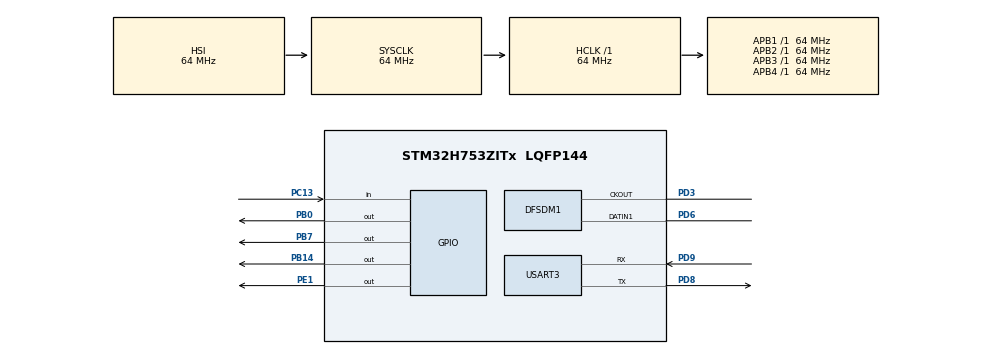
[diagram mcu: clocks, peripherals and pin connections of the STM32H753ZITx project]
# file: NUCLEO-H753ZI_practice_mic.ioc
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CORTEX_M7.CPU_DCache=Disabled
CORTEX_M7.CPU_ICache=Disabled
CORTEX_M7.MPU_Control=__NULL
CORTEX_M7.default_mode_Activation=1
DFSDM1.Divider=60
DFSDM1.DmaMode_reg_FIL0=ENABLE
DFSDM1.FastMode_reg_FIL0=ENABLE
DFSDM1.Filter_regChannel_FIL0=DFSDM_CHANNEL_1
DFSDM1.Filter_regContinuousMode_FIL0=DFSDM_CONTINUOUS_CONV_ON
DFSDM1.Fosr_FIL0=64
DFSDM1.RightBitShift_CH1=0x04
DFSDM1.Selection=DFSDM_CHANNEL_OUTPUT_CLOCK_AUDIO
DFSDM1.SincOrder_FIL0=DFSDM_FILTER_SINC4_ORDER
Dma.DFSDM1_FLT0.0.Direction=DMA_PERIPH_TO_MEMORY
Dma.DFSDM1_FLT0.0.EventEnable=DISABLE
Dma.DFSDM1_FLT0.0.FIFOMode=DMA_FIFOMODE_DISABLE
Dma.DFSDM1_FLT0.0.Instance=DMA1_Stream0
Dma.DFSDM1_FLT0.0.MemDataAlignment=DMA_MDATAALIGN_WORD
Dma.DFSDM1_FLT0.0.MemInc=DMA_MINC_ENABLE
Dma.DFSDM1_FLT0.0.Mode=DMA_CIRCULAR
Dma.DFSDM1_FLT0.0.PeriphDataAlignment=DMA_PDATAALIGN_WORD
Dma.DFSDM1_FLT0.0.PeriphInc=DMA_PINC_DISABLE
Dma.DFSDM1_FLT0.0.Polarity=HAL_DMAMUX_REQ_GEN_RISING
Dma.DFSDM1_FLT0.0.Priority=DMA_PRIORITY_HIGH
Dma.DFSDM1_FLT0.0.RequestNumber=1
Dma.DFSDM1_FLT0.0.SignalID=NONE
Dma.DFSDM1_FLT0.0.SyncEnable=DISABLE
Dma.DFSDM1_FLT0.0.SyncPolarity=HAL_DMAMUX_SYNC_NO_EVENT
Dma.DFSDM1_FLT0.0.SyncRequestNumber=1
Dma.DFSDM1_FLT0.0.SyncSignalID=NONE
Dma.Request0=DFSDM1_FLT0
Mcu.Family=STM32H7
Mcu.Name=STM32H753ZITx
Mcu.Package=LQFP144
NUCLEO-H753ZI.BUTTON=1
NUCLEO-H753ZI.Bsp_Common_DEMO=true
NUCLEO-H753ZI.LD1=true
NUCLEO-H753ZI.LD2=true
NUCLEO-H753ZI.LD3=true
NUCLEO-H753ZI.VCP=false
NVIC.DMA1_Stream0_IRQn=true\:0\:0\:false\:false\:true\:false\:true\:true
NVIC.EXTI15_10_IRQn=true\:0\:0\:false\:false\:true\:false\:true\:true
NVIC.PriorityGroup=NVIC_PRIORITYGROUP_4
PB0.Signal=GPIO_Output
PB14.Signal=GPIO_Output
PB7.Signal=GPIO_Output
PC13.Signal=GPIO_Input
PC14-OSC32_IN\ (OSC32_IN).Signal=RCC_OSC32_IN
PC15-OSC32_OUT\ (OSC32_OUT).Signal=RCC_OSC32_OUT
PD3.Signal=S_CKOUTDFSDM1
PD6.Signal=S_DATAIN1DFSDM1
PD8.Mode=Asynchronous
PD8.Signal=USART3_TX
PD9.Mode=Asynchronous
PD9.Signal=USART3_RX
PE1.Signal=GPIO_Output
PH0-OSC_IN\ (PH0).Signal=RCC_OSC_IN
PH1-OSC_OUT\ (PH1).Signal=RCC_OSC_OUT
ProjectManager.HeapSize=0x200
ProjectManager.StackSize=0x400
ProjectManager.TargetToolchain=STM32CubeIDE
RCC.ADCFreq_Value=3000000
RCC.APB1Freq_Value=64000000
RCC.APB2Freq_Value=64000000
RCC.APB3Freq_Value=64000000
RCC.APB4Freq_Value=64000000
RCC.CortexFreq_Value=64000000
RCC.DIVM1=5
RCC.DIVM2=4
RCC.DIVN1=24
RCC.DIVN2=15
RCC.DIVP2=80
RCC.DIVQ1=5
RCC.HCLKFreq_Value=64000000
RCC.HSE_VALUE=8000000
RCC.PLLFRACN=0
RCC.PWR_Regulator_Voltage_Scale=PWR_REGULATOR_VOLTAGE_SCALE2
RCC.SYSCLKFreq_VALUE=64000000
RCC.USBFreq_Value=61440000
SH.S_CKOUTDFSDM1.0=DFSDM1_CKOUT,PDM_SPI_input_from_ch1_and_internal_clock
SH.S_CKOUTDFSDM1.1=DFSDM1_CKOUT,CKOUT
SH.S_DATAIN1DFSDM1.0=DFSDM1_DATIN1,PDM_SPI_input_from_ch1_and_internal_clock
STMicroelectronics.X-CUBE-AI.10.2.0.HeapSize=0x800
STMicroelectronics.X-CUBE-AI.10.2.0.ReadyForCodeGeneration=false
STMicroelectronics.X-CUBE-AI.10.2.0.StackSize=0x800
USART3.VirtualMode-Asynchronous=VM_ASYNC
VP_MEMORYMAP_VS_MEMORYMAP.Mode=CurAppReg
VP_NUCLEO-H753ZI_VS_BSP_COMMON.Mode=COMMON
board=NUCLEO-H753ZI

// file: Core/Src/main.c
/* USER CODE BEGIN Header */
/**
  ******************************************************************************
  * @file           : main.c
  * @brief          : Wake-word MFCC data collector (Button-triggered, 1.5s)
  *                   Board : NUCLEO-H753ZI
  *                   Mic   : Adafruit ada-3492 (PDM, DFSDM1 Channel 1)
  *                   Output: USART3 (ST-Link VCP, 115200 baud)
  ******************************************************************************
  * @attention
  *
  * Copyright (c) 2026 STMicroelectronics.
  * All rights reserved.
  *
  * This software is licensed under terms that can be found in the LICENSE file
  * in the root directory of this software component.
  * If no LICENSE file comes with this software, it is provided AS-IS.
  *
  ******************************************************************************
  */
/* USER CODE END Header */
#include "main.h"
#include "dfsdm.h"
#include "dma.h"
#include "usart.h"
#include "gpio.h"

/* USER CODE BEGIN Includes */
#include <string.h>
#include <math.h>
#include "arm_math.h"
/* USER CODE END Includes */

/* USER CODE BEGIN PD */

/* ─────────────────────────────────────────────
 *  DFSDM / PCM config
 *
 *  Audio clock (DFSDM1 PLL) = 61.44 MHz
 *  CKOUT  = 61.44 MHz / 60 = 1.024 MHz   (PDM clock to mic)
 *  Sinc4, FOSR = 64, IOSR = 1
 *  PCM    = 1.024 MHz / 64 = 16,000 Hz    (exact)
 *
 *  DFSDM output: 24-bit signed in bits[31:8] of int32_t.
 *  Sinc4 FOSR=64 theoretical max = 64^4 = 2^24
 *  After RightBitShift=4 → max ±2^20 in 24-bit field.
 *  Convert to int16: (raw >> 8) >> 4 = raw >> 12, then clamp.
 * ───────────────────────────────────────────── */
#define DFSDM_DMA_BUF_SIZE   256U       /* int32_t units, circular DMA */
#define PCM_SAMPLE_RATE      16000U     /* exact: 61.44MHz / 60 / 64 */

/* ── Recording: 1.5 seconds ── */
#define RECORD_DURATION_MS   1500U
#define PCM_RECORD_SAMPLES   ((PCM_SAMPLE_RATE * RECORD_DURATION_MS) / 1000U)
                                        /* 16000 * 1500 / 1000 = 24000 */

/* ── MFCC config ── */
#define FFT_SIZE             1024U
#define HOP_SIZE             512U
#define MEL_FILTERS          15U
#define MFCC_COEFFS          15U

/* MFCC frames from 24000 PCM samples:
 * floor((24000 - 1024) / 512) + 1 = floor(22976/512) + 1 = 44 + 1 = 45 */
#define MFCC_TOTAL_FRAMES    (((PCM_RECORD_SAMPLES - FFT_SIZE) / HOP_SIZE) + 1U)

#define MEL_FMIN_HZ          20.0f
#define MEL_FMAX_HZ          4000.0f
#define PREEMPHASIS_ALPHA    0.97f
#define EPSILON_F            1.0e-10f
#define PI_F                 3.14159265358979f

/* ── DFSDM → int16 conversion ──
 *  Sinc4, FOSR=64, RightBitShift=4
 *  Effective bits = 4*log2(64) - 4 = 24 - 4 = 20 bits
 *  raw >> 8 extracts 24-bit signed data (up to ±2^20)
 *  >> 4 additional to fit 16-bit (up to ±2^16, clamp handles overflow) */
#define DFSDM_TO_PCM_SHIFT  12U         /* total: raw >> 12 = (raw>>8)>>4 */

/* ── State machine ── */
#define STATE_IDLE           0U
#define STATE_RECORDING      1U
#define STATE_PROCESSING     2U

/* USER CODE END PD */

__IO uint32_t BspButtonState = BUTTON_RELEASED;

/* USER CODE BEGIN PV */

/* ── DFSDM DMA buffer (AXI-SRAM for DMA access) ──
 *
 * Linker script (.ld) must contain:
 *   .RAM_D1 (NOLOAD) : { . = ALIGN(32); *(.RAM_D1) *(.RAM_D1.*) } >RAM_D1
 */
ALIGN_32BYTES(static int32_t dfsdm_dma_buf[DFSDM_DMA_BUF_SIZE])
    __attribute__((section(".RAM_D1")));

/* ── PCM recording buffer (1.5s = 24000 samples) ── */
static int16_t  pcm_buf[PCM_RECORD_SAMPLES];
static volatile uint32_t pcm_write_idx    = 0U;
static volatile uint8_t  state            = STATE_IDLE;

/* ── Timing ── */
static volatile uint32_t record_start_tick = 0U;
static volatile uint32_t record_end_tick   = 0U;

/* ── MFCC frontend ── */
static uint8_t frontend_ok = 0U;
static arm_rfft_fast_instance_f32 rfft_inst;
static float   hamming_win[FFT_SIZE];
static uint16_t mel_edges[MEL_FILTERS + 2U];

/* ── MFCC working buffers ── */
static float frame_f32[FFT_SIZE];
static float fft_f32[FFT_SIZE];
static float psd[(FFT_SIZE / 2U) + 1U];
static float mel_e[MEL_FILTERS];
static float mfcc_vec[MFCC_COEFFS];

/* USER CODE END PV */

void SystemClock_Config(void);
/* USER CODE BEGIN PFP */

void        UART_SendString(const char *str);
static void UART_SendChar(char c);
static void UART_SendInt(int32_t value);
static void UART_SendFloat6(float value);
static void UART_SendINFO(const char *str);
static void UART_SendERROR(const char *str);

static void Process_DFSDM_Block(const int32_t *buf, uint16_t len);

static float HzToMel(float hz);
static float MelToHz(float mel);
static void  MFCC_Init(void);
static void  MFCC_ExtractFrame(const int16_t *pcm_start,
                                uint32_t prev_sample_idx,
                                float *out_mfcc);
static void  MFCC_ProcessAndSend(void);
static void  UART_SendMFCCFrame(uint32_t idx, const float *mfcc, uint32_t n);

/* USER CODE END PFP */

/* USER CODE BEGIN 0 */

/* ================================================================
 *  UART helpers
 * ================================================================ */
void UART_SendString(const char *str)
{
  HAL_UART_Transmit(&huart3, (uint8_t *)str,
                    (uint16_t)strlen(str), HAL_MAX_DELAY);
}

static void UART_SendChar(char c)
{
  HAL_UART_Transmit(&huart3, (uint8_t *)&c, 1U, HAL_MAX_DELAY);
}

static void UART_SendInt(int32_t value)
{
  char tmp[12];
  uint32_t i = 0U;
  uint32_t mag;

  if (value < 0) { UART_SendChar('-'); mag = (uint32_t)(-value); }
  else           { mag = (uint32_t)value; }

  do { tmp[i++] = (char)('0' + (mag % 10U)); mag /= 10U; } while (mag > 0U);
  while (i > 0U) { UART_SendChar(tmp[--i]); }
}

/* 6 decimal places for training-quality precision */
static void UART_SendFloat6(float value)
{
  if (value < 0.0f) { UART_SendChar('-'); value = -value; }

  uint32_t int_part  = (uint32_t)value;
  uint32_t frac_part = (uint32_t)(((double)(value - (float)int_part) * 1000000.0) + 0.5);

  if (frac_part >= 1000000U) { int_part += 1U; frac_part -= 1000000U; }

  UART_SendInt((int32_t)int_part);
  UART_SendChar('.');

  char frac_str[7];
  for (int d = 5; d >= 0; d--)
  {
    frac_str[d] = (char)('0' + (frac_part % 10U));
    frac_part /= 10U;
  }
  frac_str[6] = '\0';
  UART_SendString(frac_str);
}

static void UART_SendINFO(const char *str)
{
  UART_SendString("INFO,");
  UART_SendString(str);
  UART_SendString("\r\n");
}

static void UART_SendERROR(const char *str)
{
  UART_SendString("ERROR,");
  UART_SendString(str);
  UART_SendString("\r\n");
}

/* Format: MFCC,<frame_idx>,c0,c1,...,c14\r\n */
static void UART_SendMFCCFrame(uint32_t idx, const float *mfcc, uint32_t n)
{
  UART_SendString("MFCC,");
  UART_SendInt((int32_t)idx);
  for (uint32_t i = 0U; i < n; i++)
  {
    UART_SendChar(',');
    UART_SendFloat6(mfcc[i]);
  }
  UART_SendString("\r\n");
}

/* ================================================================
 *  MFCC frontend init
 * ================================================================ */
static float HzToMel(float hz)
{
  return 2595.0f * log10f(1.0f + (hz / 700.0f));
}

static float MelToHz(float mel)
{
  return 700.0f * (powf(10.0f, mel / 2595.0f) - 1.0f);
}

static void MFCC_Init(void)
{
  if (arm_rfft_fast_init_f32(&rfft_inst, FFT_SIZE) != ARM_MATH_SUCCESS)
  {
    UART_SendERROR("rfft_init_fail");
    return;
  }

  /* Hamming window */
  for (uint32_t n = 0U; n < FFT_SIZE; n++)
  {
    hamming_win[n] = 0.54f - 0.46f * cosf(
        (2.0f * PI_F * (float)n) / (float)(FFT_SIZE - 1U));
  }

  /* Mel filter bank edges */
  float mel_lo = HzToMel(MEL_FMIN_HZ);
  float mel_hi = HzToMel(MEL_FMAX_HZ);

  for (uint32_t i = 0U; i < (MEL_FILTERS + 2U); i++)
  {
    float t   = (float)i / (float)(MEL_FILTERS + 1U);
    float mel = mel_lo + t * (mel_hi - mel_lo);
    float hz  = MelToHz(mel);
    uint16_t bin = (uint16_t)((float)(FFT_SIZE + 1U) * hz / (float)PCM_SAMPLE_RATE);

    if (bin > (FFT_SIZE / 2U))
      bin = (FFT_SIZE / 2U);

    if ((i > 0U) && (bin <= mel_edges[i - 1U]))
    {
      bin = mel_edges[i - 1U] + 1U;
      if (bin > (FFT_SIZE / 2U))
        bin = (FFT_SIZE / 2U);
    }

    mel_edges[i] = bin;
  }

  frontend_ok = 1U;
}

/* ================================================================
 *  Extract one MFCC frame
 * ================================================================ */
static void MFCC_ExtractFrame(const int16_t *pcm_start,
                               uint32_t prev_sample_idx,
                               float *out_mfcc)
{
  float prev_x;

  /* Previous sample for pre-emphasis filter */
  if (prev_sample_idx == 0xFFFFFFFFU)
  {
    prev_x = 0.0f;  /* no prior sample */
  }
  else
  {
    prev_x = (float)pcm_buf[prev_sample_idx] / 32768.0f;
  }

  /* Pre-emphasis + Hamming window */
  for (uint32_t n = 0U; n < FFT_SIZE; n++)
  {
    float x = (float)pcm_start[n] / 32768.0f;
    float y = x - PREEMPHASIS_ALPHA * prev_x;
    prev_x = x;
    frame_f32[n] = y * hamming_win[n];
  }

  /* FFT */
  arm_rfft_fast_f32(&rfft_inst, frame_f32, fft_f32, 0U);

  /* Power spectrum */
  psd[0]              = fft_f32[0] * fft_f32[0];
  psd[FFT_SIZE / 2U]  = fft_f32[1] * fft_f32[1];
  for (uint32_t k = 1U; k < (FFT_SIZE / 2U); k++)
  {
    float re = fft_f32[2U * k];
    float im = fft_f32[2U * k + 1U];
    psd[k] = re * re + im * im;
  }

  /* Mel filter bank */
  for (uint32_t m = 0U; m < MEL_FILTERS; m++)
  {
    uint32_t l = mel_edges[m];
    uint32_t c = mel_edges[m + 1U];
    uint32_t r = mel_edges[m + 2U];
    float sum = 0.0f;

    if (c <= l) c = l + 1U;
    if (r <= c) r = c + 1U;

    for (uint32_t k = l; k < c; k++)
      sum += psd[k] * (float)(k - l) / (float)(c - l);
    for (uint32_t k = c; k < r; k++)
      sum += psd[k] * (float)(r - k) / (float)(r - c);

    mel_e[m] = logf(sum + EPSILON_F);
  }

  /* DCT-II → MFCC + per-frame cepstral mean subtraction */
  float mean = 0.0f;
  for (uint32_t c = 0U; c < MFCC_COEFFS; c++)
  {
    float acc = 0.0f;
    for (uint32_t m = 0U; m < MEL_FILTERS; m++)
    {
      acc += mel_e[m] * cosf(
          PI_F * (float)c * ((float)m + 0.5f) / (float)MEL_FILTERS);
    }
    out_mfcc[c] = acc;
    mean += acc;
  }
  mean /= (float)MFCC_COEFFS;
  for (uint32_t c = 0U; c < MFCC_COEFFS; c++)
    out_mfcc[c] -= mean;
}

/* ================================================================
 *  Extract all MFCC frames and send via USART
 *
 *  Protocol:
 *    MFCC_START,<frames>,<coeffs>,<sr>,<fft>,<hop>\r\n
 *    MFCC,<idx>,c0,c1,...,c14\r\n     (× frames)
 *    MFCC_END\r\n
 * ================================================================ */
static void MFCC_ProcessAndSend(void)
{
  uint32_t collected = pcm_write_idx;
  uint32_t n_frames;

  if (collected < FFT_SIZE)
  {
    UART_SendERROR("too_few_samples");
    return;
  }

  n_frames = ((collected - FFT_SIZE) / HOP_SIZE) + 1U;

  /* Header */
  UART_SendString("MFCC_START,");
  UART_SendInt((int32_t)n_frames);
  UART_SendChar(',');
  UART_SendInt((int32_t)MFCC_COEFFS);
  UART_SendChar(',');
  UART_SendInt((int32_t)PCM_SAMPLE_RATE);
  UART_SendChar(',');
  UART_SendInt((int32_t)FFT_SIZE);
  UART_SendChar(',');
  UART_SendInt((int32_t)HOP_SIZE);
  UART_SendString("\r\n");

  /* Frames */
  for (uint32_t f = 0U; f < n_frames; f++)
  {
    uint32_t start = f * HOP_SIZE;
    uint32_t prev  = (start == 0U) ? 0xFFFFFFFFU : (start - 1U);

    MFCC_ExtractFrame(&pcm_buf[start], prev, mfcc_vec);
    UART_SendMFCCFrame(f, mfcc_vec, MFCC_COEFFS);
  }

  /* Footer */
  UART_SendString("MFCC_END\r\n");
}

/* ================================================================
 *  DFSDM → int16 PCM conversion
 *
 *  DFSDM register format: 24-bit signed data in bits[31:8].
 *
 *  With Sinc4 FOSR=64, RightBitShift=4:
 *    Effective dynamic range = 4×log2(64) - 4 = 20 bits
 *    raw >> 8 gives 24-bit signed value (up to ±2^20)
 *    >> 4 additional to map to ~16-bit range
 *    Total: raw >> 12, then clamp to ±32767
 * ================================================================ */
static void Process_DFSDM_Block(const int32_t *buf, uint16_t len)
{
  if (state != STATE_RECORDING) return;

  for (uint16_t i = 0U; i < len; i++)
  {
    if (pcm_write_idx >= PCM_RECORD_SAMPLES)
    {
      record_end_tick = HAL_GetTick();
      state = STATE_PROCESSING;
      return;
    }

    int32_t s16 = buf[i] >> DFSDM_TO_PCM_SHIFT;

    if (s16 >  32767) s16 =  32767;
    if (s16 < -32768) s16 = -32768;

    pcm_buf[pcm_write_idx++] = (int16_t)s16;
  }
}

/* ================================================================
 *  DFSDM DMA callbacks (Circular Half / Complete)
 * ================================================================ */
void HAL_DFSDM_FilterRegConvHalfCpltCallback(
    DFSDM_Filter_HandleTypeDef *hdfsdm_filter)
{
  if (hdfsdm_filter->Instance == DFSDM1_Filter0)
  {
    SCB_InvalidateDCache_by_Addr(
        (uint32_t *)&dfsdm_dma_buf[0],
        (int32_t)((DFSDM_DMA_BUF_SIZE / 2U) * sizeof(int32_t)));

    Process_DFSDM_Block(&dfsdm_dma_buf[0], DFSDM_DMA_BUF_SIZE / 2U);
  }
}

void HAL_DFSDM_FilterRegConvCpltCallback(
    DFSDM_Filter_HandleTypeDef *hdfsdm_filter)
{
  if (hdfsdm_filter->Instance == DFSDM1_Filter0)
  {
    SCB_InvalidateDCache_by_Addr(
        (uint32_t *)&dfsdm_dma_buf[DFSDM_DMA_BUF_SIZE / 2U],
        (int32_t)((DFSDM_DMA_BUF_SIZE / 2U) * sizeof(int32_t)));

    Process_DFSDM_Block(&dfsdm_dma_buf[DFSDM_DMA_BUF_SIZE / 2U],
                         DFSDM_DMA_BUF_SIZE / 2U);
  }
}

/* USER CODE END 0 */

int main(void)
{

  /* MCU Configuration--------------------------------------------------------*/

  /* Reset of all peripherals, Initializes the Flash interface and the Systick. */
  HAL_Init();

  /* Configure the system clock */
  SystemClock_Config();

  /* Initialize all configured peripherals */
  MX_GPIO_Init();
  MX_DMA_Init();
  MX_USART3_UART_Init();
  MX_DFSDM1_Init();
  /* USER CODE BEGIN 2 */

  /* ── LED init ── */
  BSP_LED_Init(LED_GREEN);
  BSP_LED_Init(LED_BLUE);
  BSP_LED_Init(LED_RED);

  /* ── Button init ── */
  BSP_PB_Init(BUTTON_USER, BUTTON_MODE_EXTI);

  /* ── Default LED: GREEN ON (normal state) ── */
  BSP_LED_On(LED_GREEN);
  BSP_LED_Off(LED_BLUE);
  BSP_LED_Off(LED_RED);

  /* ── MFCC init ── */
  UART_SendINFO("mfcc_init_start");
  MFCC_Init();

  if (!frontend_ok)
  {
    UART_SendERROR("mfcc_init_fail");
    BSP_LED_Off(LED_GREEN);
    BSP_LED_On(LED_RED);
    while (1) { }
  }
  UART_SendINFO("mfcc_init_ok");

  /* ── DFSDM DMA start ── */
  UART_SendINFO("dfsdm_start");

  if (HAL_DFSDM_FilterRegularStart_DMA(&hdfsdm1_filter0,
                                         dfsdm_dma_buf,
                                         DFSDM_DMA_BUF_SIZE) != HAL_OK)
  {
    UART_SendERROR("dfsdm_dma_fail");
    BSP_LED_Off(LED_GREEN);
    BSP_LED_On(LED_RED);
    while (1)
    {
      /* Halt on DFSDM failure */
    }
  }
  UART_SendINFO("dfsdm_ok");

  /* ── Config printout ── */
  UART_SendString("CONFIG,sr=");
  UART_SendInt((int32_t)PCM_SAMPLE_RATE);
  UART_SendString(",fft=");
  UART_SendInt((int32_t)FFT_SIZE);
  UART_SendString(",hop=");
  UART_SendInt((int32_t)HOP_SIZE);
  UART_SendString(",mels=");
  UART_SendInt((int32_t)MEL_FILTERS);
  UART_SendString(",mfcc=");
  UART_SendInt((int32_t)MFCC_COEFFS);
  UART_SendString(",rec_samples=");
  UART_SendInt((int32_t)PCM_RECORD_SAMPLES);
  UART_SendString(",rec_ms=");
  UART_SendInt((int32_t)RECORD_DURATION_MS);
  UART_SendString(",frames=");
  UART_SendInt((int32_t)MFCC_TOTAL_FRAMES);
  UART_SendString("\r\n");

  UART_SendINFO("ready_press_button");

  /* USER CODE END 2 */

  /* Infinite loop */
  /* USER CODE BEGIN WHILE */
  while (1)
  {
    /* ── Button → start 1.5s recording ── */
    if (BspButtonState == BUTTON_PRESSED)
    {
      BspButtonState = BUTTON_RELEASED;

      if (state == STATE_IDLE)
      {
        pcm_write_idx = 0U;
        memset(pcm_buf, 0, sizeof(pcm_buf));

        state = STATE_RECORDING;
        record_start_tick = HAL_GetTick();

        BSP_LED_Off(LED_GREEN);
        BSP_LED_On(LED_BLUE);      /* BLUE = recording */
        BSP_LED_Off(LED_RED);

        UART_SendINFO("rec_start");
      }
    }

    /* ── Recording complete → MFCC extract & send ── */
    if (state == STATE_PROCESSING)
    {
      BSP_LED_Off(LED_BLUE);
      BSP_LED_On(LED_RED);          /* RED = processing */

      uint32_t elapsed = record_end_tick - record_start_tick;

      UART_SendString("REC_DONE,samples=");
      UART_SendInt((int32_t)pcm_write_idx);
      UART_SendString(",elapsed_ms=");
      UART_SendInt((int32_t)elapsed);
      UART_SendString(",effective_sr=");
      if (elapsed > 0U)
        UART_SendInt((int32_t)((pcm_write_idx * 1000U) / elapsed));
      else
        UART_SendInt(0);
      UART_SendString("\r\n");

      MFCC_ProcessAndSend();

      BSP_LED_Off(LED_RED);
      BSP_LED_On(LED_GREEN);        /* GREEN = idle */

      UART_SendINFO("ready_press_button");
      state = STATE_IDLE;
    }
    /* USER CODE END WHILE */

  }
}

void SystemClock_Config(void)
{
  RCC_OscInitTypeDef RCC_OscInitStruct = {0};
  RCC_ClkInitTypeDef RCC_ClkInitStruct = {0};

  /** Supply configuration update enable
  */
  HAL_PWREx_ConfigSupply(PWR_LDO_SUPPLY);

  /** Configure the main internal regulator output voltage
  */
  __HAL_PWR_VOLTAGESCALING_CONFIG(PWR_REGULATOR_VOLTAGE_SCALE2);

  while(!__HAL_PWR_GET_FLAG(PWR_FLAG_VOSRDY)) {}

  /** Initializes the RCC Oscillators according to the specified parameters
  * in the RCC_OscInitTypeDef structure.
  */
  RCC_OscInitStruct.OscillatorType = RCC_OSCILLATORTYPE_HSI;
  RCC_OscInitStruct.HSIState = RCC_HSI_DIV1;
  RCC_OscInitStruct.HSICalibrationValue = RCC_HSICALIBRATION_DEFAULT;
  RCC_OscInitStruct.PLL.PLLState = RCC_PLL_ON;
  RCC_OscInitStruct.PLL.PLLSource = RCC_PLLSOURCE_HSI;
  RCC_OscInitStruct.PLL.PLLM = 5;
  RCC_OscInitStruct.PLL.PLLN = 24;
  RCC_OscInitStruct.PLL.PLLP = 2;
  RCC_OscInitStruct.PLL.PLLQ = 5;
  RCC_OscInitStruct.PLL.PLLR = 2;
  RCC_OscInitStruct.PLL.PLLRGE = RCC_PLL1VCIRANGE_3;
  RCC_OscInitStruct.PLL.PLLVCOSEL = RCC_PLL1VCOWIDE;
  RCC_OscInitStruct.PLL.PLLFRACN = 0;
  if (HAL_RCC_OscConfig(&RCC_OscInitStruct) != HAL_OK)
  {
    Error_Handler();
  }

  /** Initializes the CPU, AHB and APB buses clocks
  */
  RCC_ClkInitStruct.ClockType = RCC_CLOCKTYPE_HCLK|RCC_CLOCKTYPE_SYSCLK
                              |RCC_CLOCKTYPE_PCLK1|RCC_CLOCKTYPE_PCLK2
                              |RCC_CLOCKTYPE_D3PCLK1|RCC_CLOCKTYPE_D1PCLK1;
  RCC_ClkInitStruct.SYSCLKSource = RCC_SYSCLKSOURCE_HSI;
  RCC_ClkInitStruct.SYSCLKDivider = RCC_SYSCLK_DIV1;
  RCC_ClkInitStruct.AHBCLKDivider = RCC_HCLK_DIV1;
  RCC_ClkInitStruct.APB3CLKDivider = RCC_APB3_DIV1;
  RCC_ClkInitStruct.APB1CLKDivider = RCC_APB1_DIV1;
  RCC_ClkInitStruct.APB2CLKDivider = RCC_APB2_DIV1;
  RCC_ClkInitStruct.APB4CLKDivider = RCC_APB4_DIV1;

  if (HAL_RCC_ClockConfig(&RCC_ClkInitStruct, FLASH_LATENCY_1) != HAL_OK)
  {
    Error_Handler();
  }
}

/**
  * @brief BSP Push Button callback
  * @param Button Specifies the pressed button
  * @retval None
  */
void BSP_PB_Callback(Button_TypeDef Button)
{
  if (Button == BUTTON_USER)
  {
    BspButtonState = BUTTON_PRESSED;
  }
}

void Error_Handler(void)
{
  __disable_irq();
  while (1)
  {
  }
}
#ifdef USE_FULL_ASSERT
/**
  * @brief  Reports the name of the source file and the source line number
  *         where the assert_param error has occurred.
  * @param  file: pointer to the source file name
  * @param  line: assert_param error line source number
  * @retval None
  */
void assert_failed(uint8_t *file, uint32_t line)
{
  /* USER CODE BEGIN 6 */
  /* User can add his own implementation to report the file name and line number,
     ex: printf("Wrong parameters value: file %s on line %d\r\n", file, line) */
  (void)file;
  (void)line;
  /* USER CODE END 6 */
}
#endif /* USE_FULL_ASSERT */
